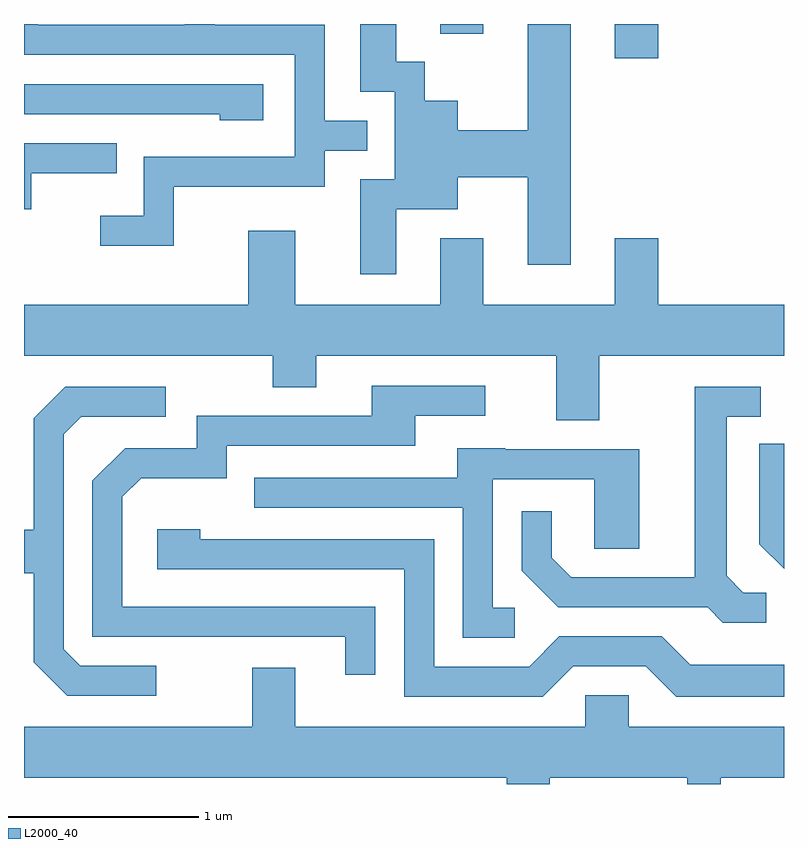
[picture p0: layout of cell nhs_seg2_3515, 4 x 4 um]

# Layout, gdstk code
import gdstk
lib = gdstk.Library(unit=1e-6, precision=1e-09)
def R(c, l, rs):  # rectangles x0, y0, x1, y1
    for r in rs: c.add(gdstk.rectangle(r[:2], r[2:], *l))
def P(c, l, *ps):  # polygons
    for p in ps: c.add(gdstk.Polygon(p, *l))
L2000_40 = (2000, 40)

nhs_seg2_3515 = lib.new_cell('nhs_seg2_3515')
R(nhs_seg2_3515, L2000_40, [(290.721,1087.621,290.949,1087.802), (289.801,1087.751,290.029,1087.802)])
P(nhs_seg2_3515, L2000_40, [(288.399,1086.946),(289.194,1086.946),(289.194,1087.136),(289.418,1087.136),(289.418,1087.294),(289.194,1087.294),(289.194,1087.799),(288.614,1087.799),(288.614,1087.802),(288.456,1087.802),(288.456,1087.799),(287.684,1087.799),(287.684,1087.802),(287.611,1087.802),(287.611,1087.641),(289.036,1087.641),(289.036,1087.104),(288.241,1087.104),(288.241,1086.794),(288.013,1086.794),(288.013,1086.636),(288.399,1086.636)],
  [(289.569,1086.826),(289.894,1086.826),(289.894,1086.996),(290.261,1086.996),(290.261,1086.536),(290.489,1086.536),(290.489,1087.802),(290.261,1087.802),(290.261,1087.244),(289.894,1087.244),(289.894,1087.399),(289.719,1087.399),(289.719,1087.604),(289.569,1087.604),(289.569,1087.802),(289.381,1087.802),(289.381,1087.446),(289.561,1087.446),(289.561,1086.984),(289.381,1086.984),(289.381,1086.486),(289.569,1086.486)],
  [(288.869,1087.484),(287.611,1087.484),(287.611,1087.326),(288.641,1087.326),(288.641,1087.296),(288.869,1087.296)],
  [(287.649,1087.016),(288.098,1087.016),(288.098,1087.174),(287.611,1087.174),(287.611,1086.826),(287.649,1086.826)],
  [(290.411,1085.716),(290.639,1085.716),(290.639,1086.056),(291.611,1086.056),(291.611,1086.324),(290.949,1086.324),(290.949,1086.674),(290.721,1086.674),(290.721,1086.324),(290.029,1086.324),(290.029,1086.674),(289.801,1086.674),(289.801,1086.324),(289.039,1086.324),(289.039,1086.714),(288.791,1086.714),(288.791,1086.324),(287.611,1086.324),(287.611,1086.056),(288.921,1086.056),(288.921,1085.891),(289.149,1085.891),(289.149,1086.056),(290.411,1086.056)],
  [(289.459,1084.734),(288.129,1084.734),(288.129,1085.314),(288.227,1085.411),(288.679,1085.411),(288.679,1085.581),(289.669,1085.581),(289.669,1085.741),(290.038,1085.741),(290.038,1085.899),(289.441,1085.899),(289.441,1085.739),(288.521,1085.739),(288.521,1085.569),(288.144,1085.569),(287.971,1085.397),(287.971,1084.576),(289.301,1084.576),(289.301,1084.378),(289.459,1084.378)],
  [(291.518,1084.809),(291.397,1084.809),(291.309,1084.897),(291.309,1085.736),(291.488,1085.736),(291.488,1085.894),(291.141,1085.894),(291.141,1084.889),(290.492,1084.889),(290.389,1084.992),(290.389,1085.238),(290.231,1085.238),(290.231,1084.924),(290.424,1084.731),(291.209,1084.731),(291.289,1084.651),(291.518,1084.651)],
  [(288.308,1084.424),(287.907,1084.424),(287.819,1084.512),(287.819,1085.644),(287.912,1085.736),(288.358,1085.736),(288.358,1085.894),(287.829,1085.894),(287.661,1085.727),(287.661,1085.139),(287.611,1085.139),(287.611,1084.911),(287.661,1084.911),(287.661,1084.444),(287.839,1084.266),(288.308,1084.266)],
  [(291.611,1085.593),(291.481,1085.593),(291.481,1085.064),(291.611,1084.934)],
  [(290.193,1084.729),(290.079,1084.729),(290.079,1085.406),(290.611,1085.406),(290.611,1085.041),(290.849,1085.041),(290.849,1085.564),(290.145,1085.564),(290.145,1085.569),(289.891,1085.569),(289.891,1085.414),(288.823,1085.414),(288.823,1085.256),(289.921,1085.256),(289.921,1084.571),(290.193,1084.571)],
  [(290.502,1084.421),(290.884,1084.421),(291.044,1084.261),(291.611,1084.261),(291.611,1084.429),(291.117,1084.429),(290.967,1084.579),(290.429,1084.579),(290.269,1084.419),(289.769,1084.419),(289.769,1085.089),(288.539,1085.089),(288.539,1085.144),(288.311,1085.144),(288.311,1084.931),(289.611,1084.931),(289.611,1084.261),(290.342,1084.261)],
  [(290.151,1083.802),(290.379,1083.802),(290.379,1083.836),(291.101,1083.836),(291.101,1083.802),(291.279,1083.802),(291.279,1083.836),(291.611,1083.836),(291.611,1084.104),(290.794,1084.104),(290.794,1084.269),(290.566,1084.269),(290.566,1084.104),(289.039,1084.104),(289.039,1084.414),(288.811,1084.414),(288.811,1084.104),(287.611,1084.104),(287.611,1083.836),(290.151,1083.836)])

lib.write_gds('nhs_seg2_3515.gds')
